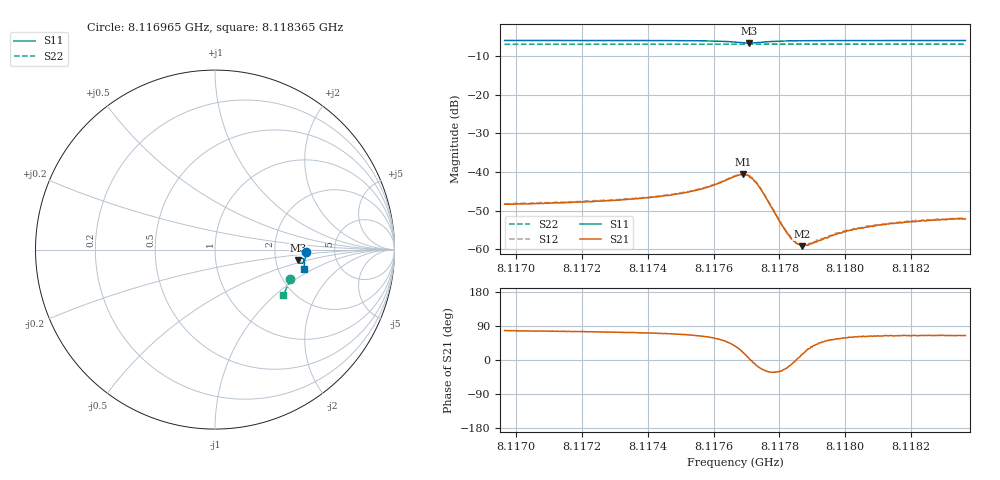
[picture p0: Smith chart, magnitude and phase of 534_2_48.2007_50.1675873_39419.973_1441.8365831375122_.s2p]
#  HZ  S  RI  R  50.00
! Rohde & Schwarz Vector Network Analyzer
! Rohde-Schwarz,ZNB20-2Port,1311601062101988,3.16
! Created: UTC 3/20/2024, 12:00:00 PM
! freq[Hz]  re:S11  im:S11  re:S21  im:S21  re:S12  im:S12  re:S22  im:S22
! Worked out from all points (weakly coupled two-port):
!   401 points, 8.116965 GHz to 8.118365 GHz, reference 50 ohm
!   highest |S21| = -40.62 dB at 8.11769 GHz (marker M1); lowest = -59.2 dB at 8.117868 GHz (marker M2)
!   lowest |S11| = -6.6 dB at 8.117707 GHz (marker M3), VSWR 2.76, Z = 134 - j20.7 ohm
!   |S11| at or under -10 dB: nowhere
!   |S22| runs from -6.9 to -6.8 dB; largest |S21 - S12| = 0.00039
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8.1169651e9  0.5065 -0.013  0.000808 0.00374  0.0009 0.00377  0.4197 -0.1661
8.1171996e9  0.505 -0.0317  0.00107 0.00393  0.00112 0.00399  0.414 -0.1815
8.117434e9  0.502 -0.0522  0.00165 0.00452  0.00169 0.00457  0.4075 -0.1968
8.11756e9  0.497 -0.0661  0.00267 0.00535  0.00278 0.00541  0.4038 -0.205
8.117609e9  0.4916 -0.0725  0.00386 0.00579  0.00399 0.0059  0.4022 -0.2081
8.117665e9  0.4762 -0.0763  0.00704 0.00527  0.0072 0.00532  0.3997 -0.2115
8.1176895e9  0.4668 -0.0699  0.00876 0.00316  0.00887 0.00323  0.3986 -0.2125
8.117707e9  0.4644 -0.0601  0.00878 0.000802  0.00902 0.000717  0.3981 -0.2133
8.1177245e9  0.4687 -0.0509  0.00745 -0.00116  0.00769 -0.00137  0.3979 -0.2138
8.1177385e9  0.4749 -0.0471  0.00603 -0.00213  0.00617 -0.00227  0.3979 -0.2146
8.117805e9  0.4942 -0.0541  0.00185 -0.00103  0.00193 -0.00107  0.3966 -0.219
8.1178295e9  0.4964 -0.0583  0.00145 -0.000413  0.00148 -0.000461  0.3961 -0.2208
8.1178505e9  0.4975 -0.0616  0.00121 -4.16e-06  0.00119 -3.17e-05  0.3954 -0.2221
8.117868e9  0.4981 -0.0641  0.00106 0.00027  0.0011 0.00028  0.3948 -0.2233
8.1178785e9  0.4984 -0.0655  0.00106 0.000435  0.00105 0.000401  0.3947 -0.2239
8.1178995e9  0.4987 -0.0682  0.000984 0.000673  0.000987 0.000662  0.3938 -0.2253
8.117966e9  0.4988 -0.0757  0.0009 0.00125  0.000929 0.0013  0.3917 -0.2295
8.1179975e9  0.4985 -0.0788  0.000881 0.00142  0.00091 0.00146  0.3907 -0.2315
8.118064e9  0.4979 -0.0848  0.000906 0.0017  0.000955 0.00173  0.3884 -0.2356
8.118134e9  0.497 -0.0908  0.000934 0.00192  0.000949 0.00195  0.3861 -0.2399
8.118232e9  0.4956 -0.0989  0.000994 0.00213  0.00106 0.00214  0.3825 -0.246
8.1183649e9  0.4933 -0.1092  0.00105 0.00221  0.00113 0.00229  0.3778 -0.2539
